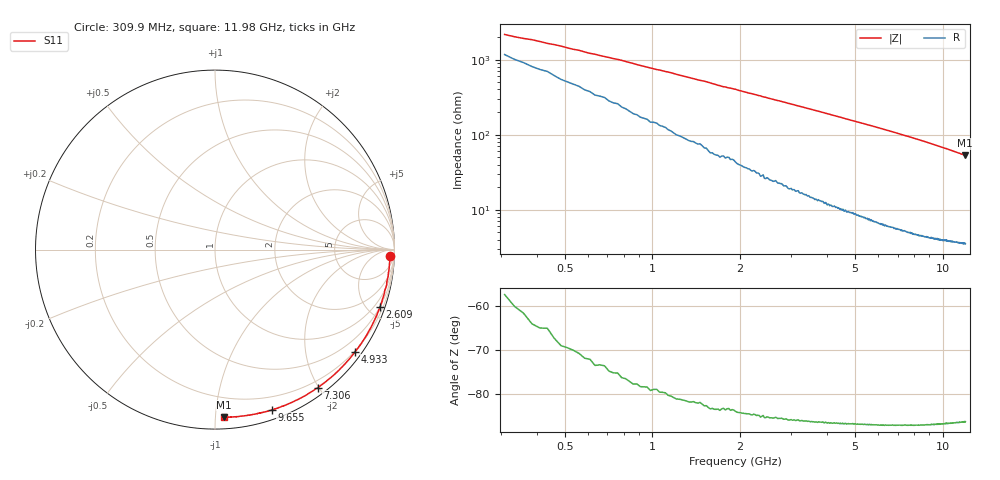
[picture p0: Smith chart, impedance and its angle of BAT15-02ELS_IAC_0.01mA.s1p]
! Infineon Technologies  Discrete & RF Semiconductors
! BAT15-02ELS
! IAC = 0.01 mA
! One-Port S-Parameters
# Hz  S  MA  R  50
!f  S11
!Hz  Mag  Ang
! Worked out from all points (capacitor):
!   468 points, 309.9 MHz to 11.98 GHz, reference 50 ohm
!   read as one part to ground: C = 232 fF near 359.8 MHz
!   lowest |Z| = 52.8 ohm at 11.95 GHz (marker M1)
!   S11 on the Smith chart (normalised r, x): 309.9 MHz: 23, -36; 2.609 GHz: 0.48, -5.90; 4.933 GHz: 0.18, -3.06; 7.306 GHz: 0.10, -1.98; 9.655 GHz: 0.08, -1.41; 11.98 GHz: 0.07, -1.05
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3.0985e8  0.9754 -2.2
8.345875e8  0.9759 -6.1
1.184412e9  0.9757 -8.6
1.6092e9  0.9757 -11.8
1.784112e9  0.9746 -13.1
1.984012e9  0.9744 -14.6
2.6087e9  0.9738 -19.1
3.233388e9  0.9723 -23.7
4.032988e9  0.9692 -29.6
4.70765e9  0.9672 -34.6
4.932538e9  0.9666 -36.1
5.757125e9  0.9636 -42.2
6.156925e9  0.9627 -45.1
6.656675e9  0.9609 -48.8
7.30635e9  0.9585 -53.4
7.4063e9  0.9578 -54.2
7.6062e9  0.9577 -55.6
7.781112e9  0.9571 -57.0
7.956025e9  0.956 -58.1
8.180912e9  0.9554 -59.8
8.330838e9  0.9543 -60.8
8.580712e9  0.9531 -62.7
9.080462e9  0.9502 -66.3
9.655175e9  0.9466 -70.6
1.052974e10  0.9429 -76.7
1.130435e10  0.9386 -82.2
1.195402e10  0.9346 -86.9
1.197901e10  0.9355 -86.8
